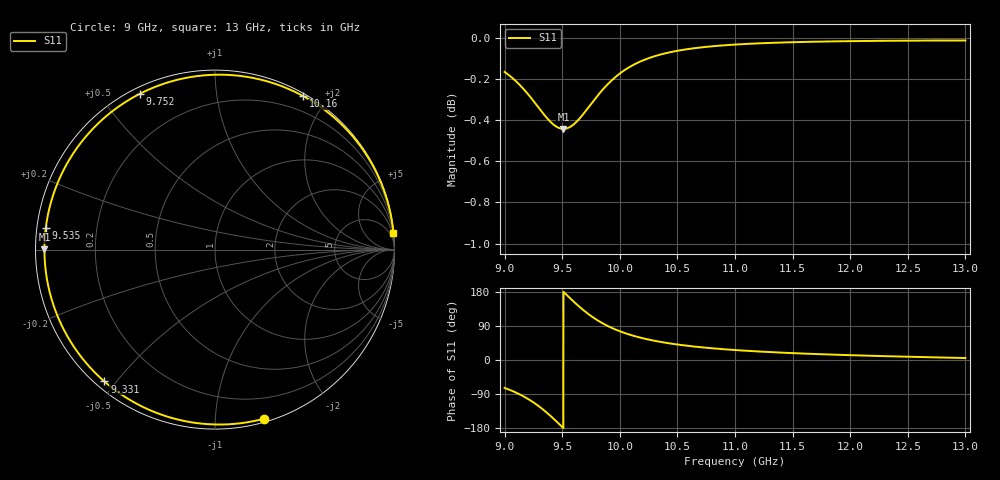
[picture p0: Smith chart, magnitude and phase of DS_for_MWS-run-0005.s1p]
! TOUCHSTONE file generated by CST DESIGN STUDIO
! Date and time: Tue Feb  4 17:56:30 2025
! Project name: C:\Work\MatlabApps\UnitCellOptimizationMatlab\CST\unitcell.cst
! Tree item: Tasks\Sweep1\SPara1\S-Parameters
! Header version: 2024
! Port assignment regex: !\s*Touchstone port\s*([0-9]+)\s*=\s*(CST MWS port|CST DES external port|CST DES block port)\s*(.+)\s* \(\"(.*)\"\)(\s*mode\s*([0-9]+))?.*
! Touchstone port assignment:
! Touchstone port 1 = CST DES external port 1 ("")
# GHz S MA R 50
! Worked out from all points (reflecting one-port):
!   4001 points, 9 GHz to 13 GHz, reference 50 ohm
!   lowest |S11| = -0.4 dB at 9.511 GHz (marker M1), VSWR 39.30, Z = 1.27 + j0.0358 ohm
!   phase of S11 starts at -74 deg and turns -281 deg over the sweep
!   S11 on the Smith chart (normalised r, x): 9 GHz: 0.03, -1.33; 9.331 GHz: 0.03, -0.47; 9.535 GHz: 0.03, +0.06; 9.752 GHz: 0.03, +0.63; 10.16 GHz: 0.03, +1.73; 13 GHz: 0, +22
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9  0.9811 -73.7
9.089  0.9766 -84.6
9.192  0.9698 -100.7
9.265  0.9642 -114.9
9.331  0.9589 -130.0
9.377  0.9555 -141.8
9.424  0.9527 -154.7
9.463  0.9511 -165.9
9.5  0.9504 -176.8
9.511  0.9504 179.9
9.535  0.9506 172.8
9.589  0.9522 157.0
9.649  0.9558 140.5
9.7  0.9596 127.6
9.752  0.9638 115.8
9.803  0.9679 105.4
9.86  0.9721 95.3
10  0.9803 75.8
10.079  0.9836 67.5
10.165  0.9865 60.0
10.317  0.9901 49.8
10.5  0.9928 40.9
10.722  0.9948 33.1
11  0.9963 26.3
11.5  0.9976 18.1
12  0.9982 12.7
12.5  0.9985 8.6
13  0.9986 5.2
